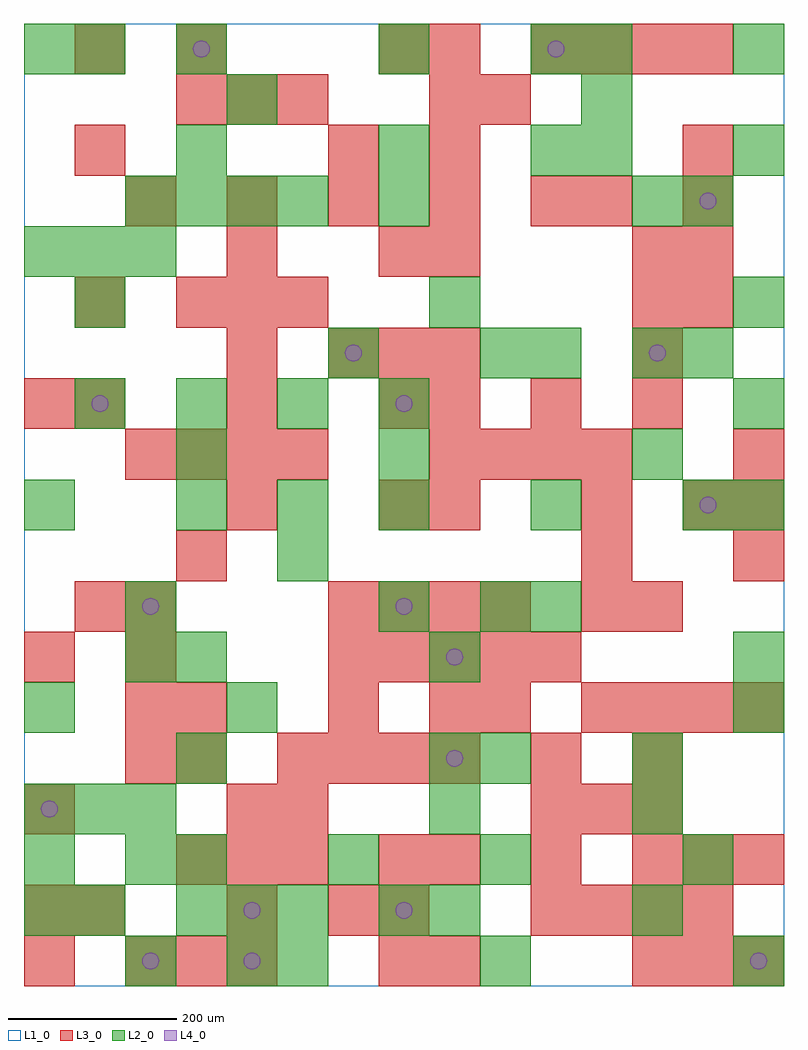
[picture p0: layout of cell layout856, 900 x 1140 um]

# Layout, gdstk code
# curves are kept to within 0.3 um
import gdstk
lib = gdstk.Library(unit=1e-6, precision=1e-09)
def R(c, l, rs):  # rectangles x0, y0, x1, y1
    for r in rs: c.add(gdstk.rectangle(r[:2], r[2:], *l))
def A(c, l, x, y, w, h, nx, ny, dx, dy):  # array of equal rectangles
    R(c, l, [(x+i*dx, y+j*dy, x+i*dx+w, y+j*dy+h) for i in range(nx) for j in range(ny)])
def P(c, l, *ps):  # polygons
    for p in ps: c.add(gdstk.Polygon(p, *l))
L1_0 = (1, 0)
L2_0 = (2, 0)
L3_0 = (3, 0)
L4_0 = (4, 0)

layout856 = lib.new_cell('layout856')
R(layout856, L1_0, [(0,0,900,1140)])
A(layout856, L2_0, 180, 60, 60, 60, 3, 1, 60, 0)
A(layout856, L2_0, 180, 120, 60, 60, 3, 1, 180, 0)
A(layout856, L2_0, 0, 180, 60, 60, 3, 2, 60, 660)
A(layout856, L2_0, 180, 540, 60, 60, 3, 1, 120, 0)
A(layout856, L2_0, 780, 540, 60, 60, 1, 3, 0, 180)
A(layout856, L2_0, 840, 540, 60, 60, 1, 3, 0, 120)
A(layout856, L2_0, 60, 660, 60, 60, 4, 1, 120, 0)
A(layout856, L2_0, 120, 900, 60, 60, 4, 1, 60, 0)
A(layout856, L2_0, 660, 960, 60, 60, 1, 3, 0, 60)
R(layout856, L2_0, [(120,0,180,60), (240,0,300,60), (300,0,360,60), (540,0,600,60), (840,0,900,60), (0,60,60,120), (60,60,120,120), (420,60,480,120), (480,60,540,120), (720,60,780,120), (0,120,60,180), (120,120,180,180), (780,120,840,180), (480,180,540,240), (720,180,780,240), (180,240,240,300), (480,240,540,300), (540,240,600,300), (720,240,780,300), (0,300,60,360), (240,300,300,360), (840,300,900,360), (120,360,180,420), (180,360,240,420), (480,360,540,420), (840,360,900,420), (120,420,180,480), (420,420,480,480), (540,420,600,480), (600,420,660,480), (300,480,360,540), (0,540,60,600), (600,540,660,600), (180,600,240,660), (420,600,480,660), (720,600,780,660), (360,720,420,780), (540,720,600,780), (600,720,660,780), (720,720,780,780), (60,780,120,840), (480,780,540,840), (420,900,480,960), (720,900,780,960), (180,960,240,1020), (420,960,480,1020), (600,960,660,1020), (840,960,900,1020), (240,1020,300,1080), (0,1080,60,1140), (60,1080,120,1140), (180,1080,240,1140), (420,1080,480,1140), (600,1080,660,1140), (840,1080,900,1140)])
A(layout856, L3_0, 120, 0, 60, 60, 3, 1, 60, 0)
A(layout856, L3_0, 420, 0, 60, 60, 1, 3, 0, 60)
A(layout856, L3_0, 720, 0, 60, 60, 3, 1, 60, 0)
A(layout856, L3_0, 60, 60, 60, 60, 1, 3, 0, 360)
A(layout856, L3_0, 600, 60, 60, 60, 4, 2, 60, 1020)
A(layout856, L3_0, 180, 120, 60, 60, 3, 2, 60, 660)
A(layout856, L3_0, 480, 120, 60, 60, 3, 2, 120, 540)
A(layout856, L3_0, 600, 180, 60, 60, 3, 1, 60, 0)
A(layout856, L3_0, 120, 240, 60, 60, 1, 4, 0, 60)
A(layout856, L3_0, 300, 240, 60, 60, 4, 1, 60, 0)
A(layout856, L3_0, 660, 300, 60, 60, 4, 1, 60, 0)
A(layout856, L3_0, 360, 360, 60, 60, 5, 1, 60, 0)
A(layout856, L3_0, 360, 420, 60, 60, 4, 1, 60, 0)
A(layout856, L3_0, 660, 420, 60, 60, 1, 3, 0, 60)
A(layout856, L3_0, 840, 480, 60, 60, 1, 3, 0, 60)
A(layout856, L3_0, 120, 600, 60, 60, 4, 1, 60, 0)
A(layout856, L3_0, 480, 600, 60, 60, 4, 1, 60, 0)
A(layout856, L3_0, 60, 660, 60, 60, 3, 1, 180, 0)
A(layout856, L3_0, 360, 720, 60, 60, 3, 1, 60, 0)
A(layout856, L3_0, 720, 720, 60, 60, 1, 3, 0, 60)
A(layout856, L3_0, 780, 780, 60, 60, 1, 4, 0, 60)
A(layout856, L3_0, 120, 900, 60, 60, 5, 1, 120, 0)
A(layout856, L3_0, 480, 960, 60, 60, 1, 3, 0, 60)
A(layout856, L3_0, 180, 1020, 60, 60, 3, 1, 60, 0)
R(layout856, L3_0, [(0,0,60,60), (480,0,540,60), (0,60,60,120), (240,60,300,120), (360,60,420,120), (780,120,840,180), (840,120,900,180), (0,180,60,240), (240,180,300,240), (300,180,360,240), (180,240,240,300), (600,240,660,300), (720,240,780,300), (180,300,240,360), (360,300,420,360), (480,300,540,360), (540,300,600,360), (0,360,60,420), (720,420,780,480), (180,480,240,540), (240,540,300,600), (420,540,480,600), (480,540,540,600), (780,540,840,600), (0,660,60,720), (240,720,300,780), (240,840,300,900), (420,840,480,900), (480,840,540,900), (660,900,720,960), (60,960,120,1020), (360,960,420,1020), (540,1020,600,1080), (60,1080,120,1140), (180,1080,240,1140), (420,1080,480,1140)])
P(layout856, L4_0, [(40,210),(39.239,213.827),(37.071,217.071),(33.827,219.239),(30,220),(26.173,219.239),(22.929,217.071),(20.761,213.827),(20,210),(20.761,206.173),(22.929,202.929),(26.173,200.761),(30,200),(33.827,200.761),(37.071,202.929),(39.239,206.173)],
  [(100,690),(99.239,693.827),(97.071,697.071),(93.827,699.239),(90,700),(86.173,699.239),(82.929,697.071),(80.761,693.827),(80,690),(80.761,686.173),(82.929,682.929),(86.173,680.761),(90,680),(93.827,680.761),(97.071,682.929),(99.239,686.173)],
  [(160,30),(159.239,33.827),(157.071,37.071),(153.827,39.239),(150,40),(146.173,39.239),(142.929,37.071),(140.761,33.827),(140,30),(140.761,26.173),(142.929,22.929),(146.173,20.761),(150,20),(153.827,20.761),(157.071,22.929),(159.239,26.173)],
  [(160,450),(159.239,453.827),(157.071,457.071),(153.827,459.239),(150,460),(146.173,459.239),(142.929,457.071),(140.761,453.827),(140,450),(140.761,446.173),(142.929,442.929),(146.173,440.761),(150,440),(153.827,440.761),(157.071,442.929),(159.239,446.173)],
  [(220,1110),(219.239,1113.827),(217.071,1117.071),(213.827,1119.239),(210,1120),(206.173,1119.239),(202.929,1117.071),(200.761,1113.827),(200,1110),(200.761,1106.173),(202.929,1102.929),(206.173,1100.761),(210,1100),(213.827,1100.761),(217.071,1102.929),(219.239,1106.173)],
  [(280,30),(279.239,33.827),(277.071,37.071),(273.827,39.239),(270,40),(266.173,39.239),(262.929,37.071),(260.761,33.827),(260,30),(260.761,26.173),(262.929,22.929),(266.173,20.761),(270,20),(273.827,20.761),(277.071,22.929),(279.239,26.173)],
  [(280,90),(279.239,93.827),(277.071,97.071),(273.827,99.239),(270,100),(266.173,99.239),(262.929,97.071),(260.761,93.827),(260,90),(260.761,86.173),(262.929,82.929),(266.173,80.761),(270,80),(273.827,80.761),(277.071,82.929),(279.239,86.173)],
  [(400,750),(399.239,753.827),(397.071,757.071),(393.827,759.239),(390,760),(386.173,759.239),(382.929,757.071),(380.761,753.827),(380,750),(380.761,746.173),(382.929,742.929),(386.173,740.761),(390,740),(393.827,740.761),(397.071,742.929),(399.239,746.173)],
  [(460,90),(459.239,93.827),(457.071,97.071),(453.827,99.239),(450,100),(446.173,99.239),(442.929,97.071),(440.761,93.827),(440,90),(440.761,86.173),(442.929,82.929),(446.173,80.761),(450,80),(453.827,80.761),(457.071,82.929),(459.239,86.173)],
  [(460,450),(459.239,453.827),(457.071,457.071),(453.827,459.239),(450,460),(446.173,459.239),(442.929,457.071),(440.761,453.827),(440,450),(440.761,446.173),(442.929,442.929),(446.173,440.761),(450,440),(453.827,440.761),(457.071,442.929),(459.239,446.173)],
  [(460,690),(459.239,693.827),(457.071,697.071),(453.827,699.239),(450,700),(446.173,699.239),(442.929,697.071),(440.761,693.827),(440,690),(440.761,686.173),(442.929,682.929),(446.173,680.761),(450,680),(453.827,680.761),(457.071,682.929),(459.239,686.173)],
  [(520,270),(519.239,273.827),(517.071,277.071),(513.827,279.239),(510,280),(506.173,279.239),(502.929,277.071),(500.761,273.827),(500,270),(500.761,266.173),(502.929,262.929),(506.173,260.761),(510,260),(513.827,260.761),(517.071,262.929),(519.239,266.173)],
  [(520,390),(519.239,393.827),(517.071,397.071),(513.827,399.239),(510,400),(506.173,399.239),(502.929,397.071),(500.761,393.827),(500,390),(500.761,386.173),(502.929,382.929),(506.173,380.761),(510,380),(513.827,380.761),(517.071,382.929),(519.239,386.173)],
  [(640,1110),(639.239,1113.827),(637.071,1117.071),(633.827,1119.239),(630,1120),(626.173,1119.239),(622.929,1117.071),(620.761,1113.827),(620,1110),(620.761,1106.173),(622.929,1102.929),(626.173,1100.761),(630,1100),(633.827,1100.761),(637.071,1102.929),(639.239,1106.173)],
  [(760,750),(759.239,753.827),(757.071,757.071),(753.827,759.239),(750,760),(746.173,759.239),(742.929,757.071),(740.761,753.827),(740,750),(740.761,746.173),(742.929,742.929),(746.173,740.761),(750,740),(753.827,740.761),(757.071,742.929),(759.239,746.173)],
  [(820,570),(819.239,573.827),(817.071,577.071),(813.827,579.239),(810,580),(806.173,579.239),(802.929,577.071),(800.761,573.827),(800,570),(800.761,566.173),(802.929,562.929),(806.173,560.761),(810,560),(813.827,560.761),(817.071,562.929),(819.239,566.173)],
  [(820,930),(819.239,933.827),(817.071,937.071),(813.827,939.239),(810,940),(806.173,939.239),(802.929,937.071),(800.761,933.827),(800,930),(800.761,926.173),(802.929,922.929),(806.173,920.761),(810,920),(813.827,920.761),(817.071,922.929),(819.239,926.173)],
  [(880,30),(879.239,33.827),(877.071,37.071),(873.827,39.239),(870,40),(866.173,39.239),(862.929,37.071),(860.761,33.827),(860,30),(860.761,26.173),(862.929,22.929),(866.173,20.761),(870,20),(873.827,20.761),(877.071,22.929),(879.239,26.173)])

lib.write_gds('layout856.gds')
